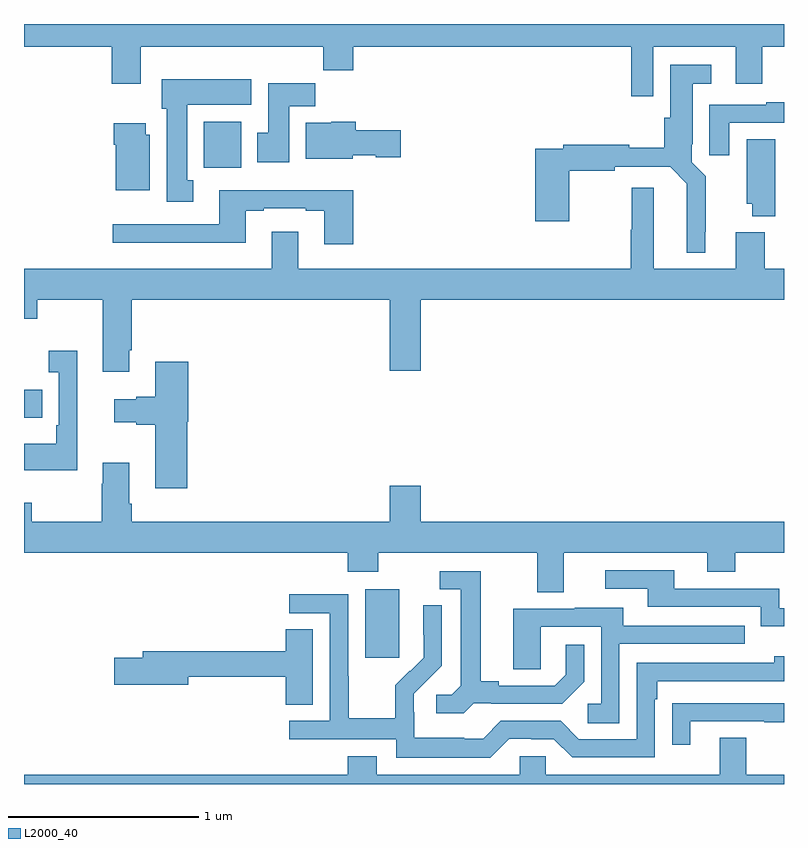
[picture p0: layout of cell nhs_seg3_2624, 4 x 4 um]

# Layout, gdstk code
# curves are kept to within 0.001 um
import gdstk
lib = gdstk.Library(unit=1e-6, precision=1e-09)
def R(c, l, rs):  # rectangles x0, y0, x1, y1
    for r in rs: c.add(gdstk.rectangle(r[:2], r[2:], *l))
def P(c, l, *ps):  # polygons
    for p in ps: c.add(gdstk.Polygon(p, *l))
L2000_40 = (2000, 40)

nhs_seg3_2624 = lib.new_cell('nhs_seg3_2624')
R(nhs_seg3_2624, L2000_40, [(248.795,667.065,248.974,667.426), (247,668.327,247.097,668.475), (247.946,669.644,248.143,669.886)])
P(nhs_seg3_2624, L2000_40, [(247,670.28),(247.463,670.28),(247.463,670.086),(247.615,670.086),(247.615,670.28),(248.575,670.28),(248.575,670.156),(248.732,670.156),(248.732,670.28),(250.195,670.28),(250.195,670.02),(250.311,670.02),(250.311,670.28),(250.745,670.28),(250.745,670.086),(250.885,670.086),(250.885,670.28),(251,670.28),(251,670.4),(247,670.4)],
  [(250.585,669.307),(250.589,669.307),(250.589,669.598),(250.515,669.672),(250.515,669.766),(250.519,669.766),(250.519,670.085),(250.618,670.085),(250.618,670.186),(250.4,670.186),(250.4,669.906),(250.37,669.906),(250.37,669.749),(250.186,669.749),(250.186,669.764),(249.838,669.764),(249.838,669.744),(249.692,669.744),(249.692,669.363),(249.87,669.363),(249.87,669.628),(250.109,669.628),(250.109,669.648),(250.4,669.648),(250.488,669.56),(250.487,669.197),(250.585,669.197)],
  [(247.891,669.578),(247.858,669.578),(247.858,669.974),(248.197,669.974),(248.197,670.108),(247.724,670.108),(247.724,669.954),(247.751,669.954),(247.751,669.465),(247.891,669.465)],
  [(248.395,669.968),(248.534,669.968),(248.534,670.087),(248.285,670.087),(248.285,669.828),(248.228,669.828),(248.228,669.672),(248.395,669.672)],
  [(250.711,669.879),(251,669.879),(251,669.988),(250.907,669.988),(250.907,669.975),(250.607,669.975),(250.607,669.708),(250.711,669.708)],
  [(248.73,669.71),(248.85,669.71),(248.85,669.698),(248.983,669.698),(248.983,669.84),(248.747,669.84),(248.747,669.886),(248.616,669.886),(248.616,669.88),(248.483,669.88),(248.483,669.692),(248.73,669.692)],
  [(247.663,669.816),(247.642,669.816),(247.642,669.877),(247.472,669.877),(247.472,669.764),(247.484,669.764),(247.484,669.524),(247.663,669.524)],
  [(250.954,669.794),(250.805,669.794),(250.805,669.453),(250.832,669.453),(250.832,669.389),(250.954,669.389)],
  [(247,668.849),(247.071,668.849),(247.071,668.948),(247.415,668.948),(247.415,668.571),(247.555,668.571),(247.555,668.683),(247.568,668.683),(247.568,668.948),(248.924,668.948),(248.924,668.574),(249.088,668.574),(249.088,668.948),(251,668.948),(251,669.112),(250.898,669.112),(250.898,669.304),(250.745,669.304),(250.745,669.112),(250.315,669.112),(250.315,669.538),(250.198,669.538),(250.198,669.317),(250.193,669.317),(250.193,669.112),(248.443,669.112),(248.443,669.307),(248.303,669.307),(248.303,669.112),(247,669.112)],
  [(248.732,669.526),(248.027,669.526),(248.027,669.345),(247.467,669.345),(247.467,669.248),(248.167,669.248),(248.167,669.417),(248.263,669.417),(248.263,669.429),(248.483,669.429),(248.483,669.417),(248.579,669.417),(248.579,669.24),(248.732,669.24)],
  [(247.28,668.68),(247.131,668.68),(247.131,668.567),(247.182,668.567),(247.182,668.287),(247.17,668.287),(247.17,668.191),(247,668.191),(247,668.051),(247.28,668.051)],
  [(247.859,668.307),(247.864,668.307),(247.864,668.623),(247.691,668.623),(247.691,668.438),(247.592,668.438),(247.592,668.425),(247.476,668.425),(247.476,668.303),(247.592,668.303),(247.592,668.291),(247.691,668.291),(247.691,667.956),(247.859,667.956)],
  [(249.841,667.616),(250.595,667.616),(250.595,667.517),(250.743,667.517),(250.743,667.616),(251,667.616),(251,667.78),(249.088,667.78),(249.088,667.969),(248.924,667.969),(248.924,667.78),(247.568,667.78),(247.568,667.876),(247.555,667.876),(247.555,668.092),(247.415,668.092),(247.415,667.979),(247.408,667.979),(247.408,667.78),(247.041,667.78),(247.041,667.879),(247,667.879),(247,667.616),(248.705,667.616),(248.705,667.517),(248.865,667.517),(248.865,667.616),(249.701,667.616),(249.701,667.408),(249.841,667.408)],
  [(251,667.326),(250.974,667.326),(250.974,667.428),(250.423,667.428),(250.423,667.524),(250.059,667.524),(250.059,667.428),(250.283,667.428),(250.283,667.332),(250.878,667.332),(250.878,667.229),(251,667.229)],
  [(249.366,666.825),(249.46,666.825),(249.46,666.822),(249.832,666.822),(249.948,666.938),(249.948,667.132),(249.851,667.132),(249.851,666.975),(249.794,666.918),(249.499,666.918),(249.499,666.941),(249.403,666.941),(249.403,667.521),(249.189,667.521),(249.189,667.425),(249.299,667.425),(249.299,666.917),(249.252,666.87),(249.171,666.87),(249.171,666.773),(249.314,666.773)],
  [(249.555,666.639),(249.671,666.639),(249.671,666.636),(249.789,666.636),(249.885,666.54),(250.32,666.54),(250.32,666.845),(250.333,666.845),(250.333,666.942),(251,666.942),(251,667.072),(250.949,667.072),(250.949,667.038),(250.224,667.038),(250.224,666.636),(249.921,666.636),(249.825,666.732),(249.51,666.732),(249.417,666.639),(249.317,666.639),(249.317,666.643),(249.054,666.643),(249.054,666.777),(249.052,666.777),(249.052,666.874),(249.198,667.022),(249.198,667.34),(249.102,667.34),(249.102,667.186),(249.104,667.186),(249.104,667.064),(249.033,666.993),(249.03,666.996),(248.953,666.919),(248.953,666.745),(248.709,666.745),(248.709,666.968),(248.706,666.968),(248.706,667.398),(248.397,667.398),(248.397,667.299),(248.61,667.299),(248.61,666.732),(248.397,666.732),(248.397,666.636),(248.958,666.636),(248.958,666.539),(249.455,666.539)],
  [(250.134,667.137),(250.793,667.137),(250.793,667.233),(250.153,667.233),(250.153,667.327),(249.899,667.327),(249.899,667.323),(249.575,667.323),(249.575,667.003),(249.72,667.003),(249.72,667.227),(250.038,667.227),(250.038,666.822),(249.966,666.822),(249.966,666.721),(250.134,666.721)],
  [(248.521,667.214),(248.378,667.214),(248.378,667.1),(247.625,667.1),(247.625,667.064),(247.476,667.064),(247.476,666.922),(247.864,666.922),(247.864,666.964),(248.378,666.964),(248.378,666.817),(248.521,666.817)],
  [(250.507,666.729),(250.897,666.729),(250.897,666.724),(251,666.724),(251,666.825),(250.513,666.825),(250.513,666.824),(250.411,666.824),(250.411,666.606),(250.507,666.606)],
  [(251,666.448),(250.801,666.448),(250.801,666.643),(250.661,666.643),(250.661,666.448),(249.747,666.448),(249.747,666.546),(249.609,666.546),(249.609,666.448),(248.857,666.448),(248.857,666.547),(248.705,666.547),(248.705,666.448),(247,666.448),(247,666.4),(251,666.4)])

lib.write_gds('nhs_seg3_2624.gds')
